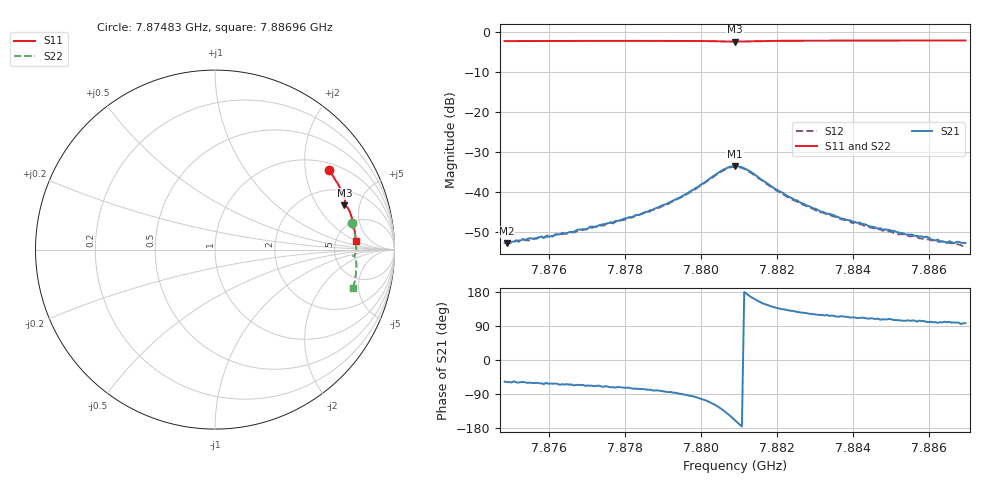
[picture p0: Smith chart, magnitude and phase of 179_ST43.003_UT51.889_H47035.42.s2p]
#  HZ  S  DB  R  50.00
! Rohde & Schwarz Vector Network Analyzer
! Rohde-Schwarz,ZNB20-2Port,1311601062101988,3.16
! Created: UTC 1/12/2023, 6:42:40 PM
! freq[Hz]  db:S11  ang:S11  db:S21  ang:S21  db:S12  ang:S12  db:S22  ang:S22
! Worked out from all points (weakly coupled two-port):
!   201 points, 7.87483 GHz to 7.88696 GHz, reference 50 ohm
!   highest |S21| = -33.46 dB at 7.8809 GHz (marker M1); lowest = -52.7 dB at 7.87489 GHz (marker M2)
!   lowest |S11| = -2.4 dB at 7.8809 GHz (marker M3), VSWR 7.39, Z = 151 + j178 ohm
!   |S11| at or under -10 dB: nowhere
!   |S22| runs from -2.3 to -1.9 dB; largest |S21 - S12| = 0.0014
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7.874833e9  -2.24 34.9  -52.64 -57.0  -52.76 -60.2  -2.18 11.0
7.874894e9  -2.24 34.7  -52.75 -58.6  -52.60 -61.8  -2.18 10.8
7.875319e9  -2.23 33.6  -51.69 -57.9  -51.91 -63.2  -2.17 9.8
7.875501e9  -2.22 33.1  -51.49 -59.7  -52.05 -63.3  -2.16 9.4
7.875986e9  -2.22 31.8  -51.15 -62.7  -50.77 -65.7  -2.15 8.2
7.876107e9  -2.21 31.4  -50.97 -62.4  -51.05 -64.9  -2.14 8.0
7.876896e9  -2.20 29.3  -49.44 -65.5  -49.22 -69.1  -2.12 6.1
7.878048e9  -2.19 26.1  -46.49 -73.3  -46.86 -77.4  -2.10 3.5
7.878897e9  -2.19 23.8  -43.73 -80.9  -43.89 -84.7  -2.09 1.4
7.879625e9  -2.20 21.7  -40.39 -92.5  -40.51 -96.1  -2.09 -0.4
7.880595e9  -2.33 19.1  -34.32 -133.2  -34.57 -136.2  -2.21 -2.6
7.880899e9  -2.36 18.9  -33.46 -159.1  -33.65 -162.7  -2.26 -2.7
7.881202e9  -2.32 18.7  -34.30 174.7  -34.47 171.5  -2.22 -2.7
7.882172e9  -2.17 16.2  -40.24 133.8  -40.61 129.7  -2.05 -4.8
7.882961e9  -2.14 14.0  -44.05 121.0  -44.21 118.6  -2.01 -6.6
7.883992e9  -2.12 11.2  -47.34 112.9  -47.74 109.2  -1.99 -9.0
7.884962e9  -2.10 8.6  -49.45 108.4  -49.83 104.5  -1.96 -11.2
7.885387e9  -2.09 7.5  -50.55 103.4  -50.63 101.4  -1.95 -12.1
7.885933e9  -2.09 6.1  -51.11 100.6  -51.73 98.0  -1.95 -13.2
7.886479e9  -2.09 4.6  -52.69 99.5  -52.53 97.2  -1.94 -14.5
7.886539e9  -2.09 4.5  -52.24 100.8  -52.67 97.8  -1.94 -14.6
7.886964e9  -2.08 3.4  -52.69 97.1  -53.23 97.6  -1.95 -15.5
